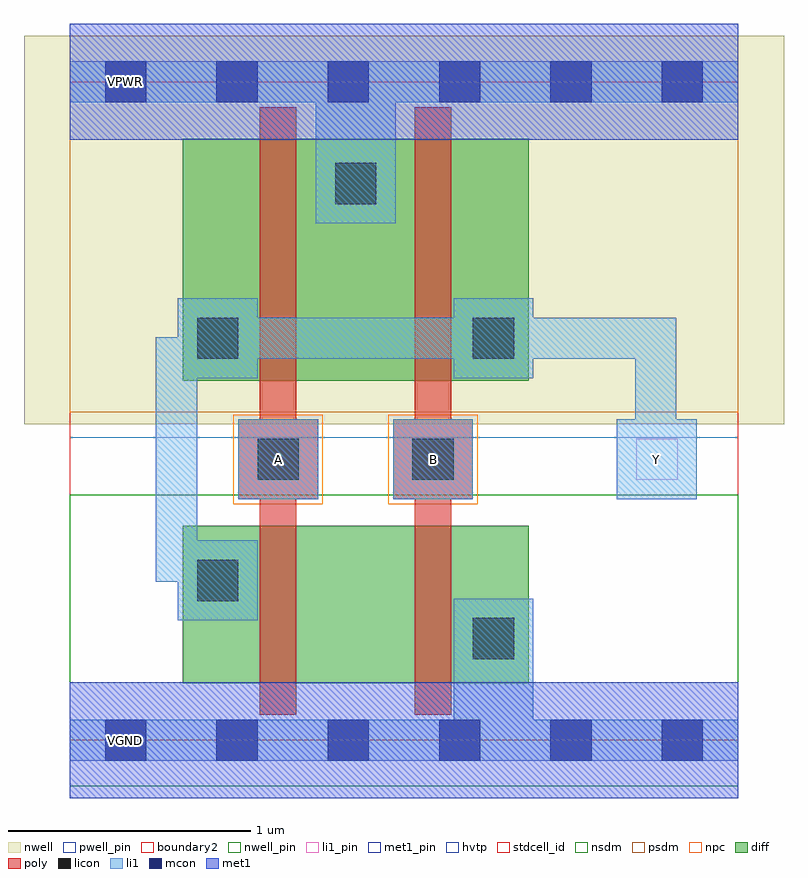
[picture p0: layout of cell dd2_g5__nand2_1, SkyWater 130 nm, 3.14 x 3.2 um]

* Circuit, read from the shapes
.subckt dd2_g5__nand2_1 A B VGND VNB VPB VPWR Y
XM1 n1 A Y VNB sky130_fd_pr__nfet_01v8 w=0.65 l=0.15
XM2 VGND B n1 VNB sky130_fd_pr__nfet_01v8 w=0.65 l=0.15
XM3 VPWR A Y VPB sky130_fd_pr__pfet_01v8_hvt w=1 l=0.15
XM4 Y B VPWR VPB sky130_fd_pr__pfet_01v8_hvt w=1 l=0.15
.ends

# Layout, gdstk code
import gdstk
lib = gdstk.Library(unit=1e-6, precision=1e-09)
def R(c, l, rs):  # rectangles x0, y0, x1, y1
    for r in rs: c.add(gdstk.rectangle(r[:2], r[2:], *l))
def A(c, l, x, y, w, h, nx, ny, dx, dy):  # array of equal rectangles
    R(c, l, [(x+i*dx, y+j*dy, x+i*dx+w, y+j*dy+h) for i in range(nx) for j in range(ny)])
nwell_pin = (64, 16)
nwell = (64, 20)
diff = (65, 20)
poly = (66, 20)
licon = (66, 44)
li1_pin = (67, 16)
li1 = (67, 20)
mcon = (67, 44)
met1_pin = (68, 16)
met1 = (68, 20)
hvtp = (78, 44)
stdcell_id = (81, 4)
nsdm = (93, 44)
psdm = (94, 20)
npc = (95, 20)
pwell_pin = (122, 16)
boundary2 = (236, 0)

dd2_g5__nand2_1 = lib.new_cell('dd2_g5__nand2_1')
R(dd2_g5__nand2_1, nwell_pin, [(0.145,2.635,0.315,2.805)])
R(dd2_g5__nand2_1, nwell, [(-0.19,1.305,2.95,2.91)])
R(dd2_g5__nand2_1, diff, [(0.465,0.235,1.895,0.885), (0.465,1.485,1.895,2.485)])
R(dd2_g5__nand2_1, poly, [(0.785,0.105,0.935,2.615), (1.425,0.105,1.575,2.615), (0.695,0.995,1.025,1.325), (1.335,0.995,1.665,1.325)])
R(dd2_g5__nand2_1, licon, [(1.665,0.335,1.835,0.505), (0.525,0.575,0.695,0.745), (0.775,1.075,0.945,1.245), (1.415,1.075,1.585,1.245), (0.525,1.575,0.695,1.745), (1.665,1.575,1.835,1.745), (1.095,2.215,1.265,2.385)])
R(dd2_g5__nand2_1, li1_pin, [(0.145,-0.085,0.315,0.085), (0.775,1.075,0.945,1.245), (1.415,1.075,1.585,1.245), (2.34,1.075,2.51,1.245), (0.145,2.635,0.315,2.805)])
R(dd2_g5__nand2_1, li1, [(0,-0.085,2.76,0.085), (1.585,0.085,1.915,0.585), (0.445,0.495,0.775,0.655), (0.355,0.655,0.775,0.825), (0.355,0.825,0.525,1.495), (0.695,0.995,1.025,1.325), (1.335,0.995,1.665,1.325), (2.26,0.995,2.59,1.325), (2.335,1.325,2.505,1.575), (0.355,1.495,0.775,1.575), (1.585,1.495,1.915,1.575), (0.355,1.575,2.505,1.665), (0.445,1.665,2.505,1.745), (0.445,1.745,0.775,1.825), (1.585,1.745,1.915,1.825), (1.015,2.135,1.345,2.635), (0,2.635,2.76,2.805)])
A(dd2_g5__nand2_1, mcon, 0.145, -0.085, 0.17, 0.17, 6, 2, 0.46, 2.72)
R(dd2_g5__nand2_1, met1_pin, [(0.145,-0.085,0.315,0.085), (0.145,2.635,0.315,2.805)])
R(dd2_g5__nand2_1, met1, [(0,-0.24,2.76,0.24), (0,2.48,2.76,2.96)])
R(dd2_g5__nand2_1, hvtp, [(0,1.25,2.76,2.72)])
R(dd2_g5__nand2_1, stdcell_id, [(0,0,2.76,2.72)])
R(dd2_g5__nand2_1, nsdm, [(0,-0.19,2.76,1.015)])
R(dd2_g5__nand2_1, psdm, [(0,1.355,2.76,2.91)])
R(dd2_g5__nand2_1, npc, [(0.675,0.975,1.045,1.345), (1.315,0.975,1.685,1.345)])
R(dd2_g5__nand2_1, pwell_pin, [(0.145,-0.085,0.315,0.085)])
R(dd2_g5__nand2_1, boundary2, [(0,0,2.76,2.72)])
dd2_g5__nand2_1.add(gdstk.Label('VPWR', (0.23,2.72), layer=68, texttype=5))
dd2_g5__nand2_1.add(gdstk.Label('VGND', (0.23,0), layer=68, texttype=5))
dd2_g5__nand2_1.add(gdstk.Label('VPWR', (0.23,2.72), layer=67, texttype=5))
dd2_g5__nand2_1.add(gdstk.Label('VGND', (0.23,0), layer=67, texttype=5))
dd2_g5__nand2_1.add(gdstk.Label('A', (0.86,1.16), layer=67, texttype=5))
dd2_g5__nand2_1.add(gdstk.Label('B', (1.5,1.16), layer=67, texttype=5))
dd2_g5__nand2_1.add(gdstk.Label('Y', (2.425,1.16), layer=67, texttype=5))
dd2_g5__nand2_1.add(gdstk.Label('VPB', (0.23,2.72), layer=64, texttype=5))
dd2_g5__nand2_1.add(gdstk.Label('VNB', (0.23,0), layer=64, texttype=59))

lib.write_gds('dd2_g5__nand2_1.gds')
